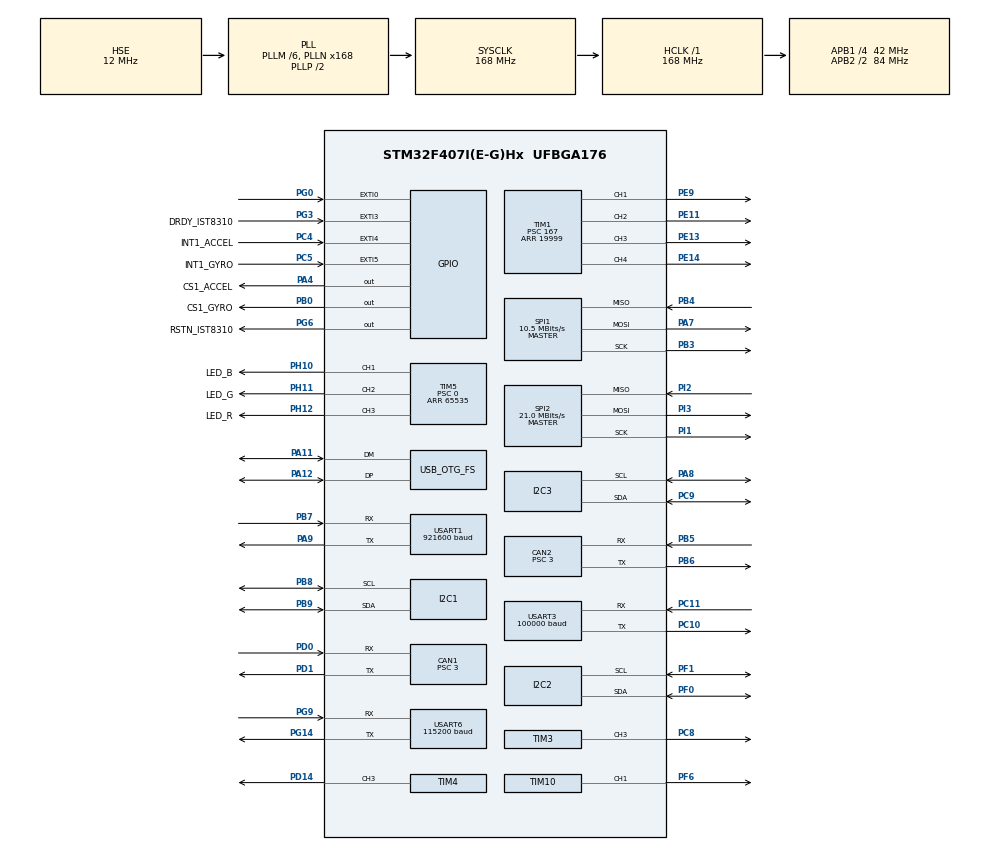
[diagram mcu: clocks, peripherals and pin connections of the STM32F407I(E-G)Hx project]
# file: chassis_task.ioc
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CAN1.BS1=CAN_BS1_10TQ
CAN1.BS2=CAN_BS2_3TQ
CAN1.CalculateBaudRate=1000000
CAN1.CalculateTimeQuantum=71.42857142857143
CAN1.Prescaler=3
CAN2.BS1=CAN_BS1_10TQ
CAN2.BS2=CAN_BS2_3TQ
CAN2.CalculateBaudRate=1000000
CAN2.CalculateTimeQuantum=71.42857142857143
CAN2.Prescaler=3
Dma.I2C2_TX.6.Direction=DMA_MEMORY_TO_PERIPH
Dma.I2C2_TX.6.FIFOMode=DMA_FIFOMODE_DISABLE
Dma.I2C2_TX.6.Instance=DMA1_Stream7
Dma.I2C2_TX.6.MemDataAlignment=DMA_MDATAALIGN_BYTE
Dma.I2C2_TX.6.MemInc=DMA_MINC_ENABLE
Dma.I2C2_TX.6.Mode=DMA_NORMAL
Dma.I2C2_TX.6.PeriphDataAlignment=DMA_PDATAALIGN_BYTE
Dma.I2C2_TX.6.PeriphInc=DMA_PINC_DISABLE
Dma.I2C2_TX.6.Priority=DMA_PRIORITY_HIGH
Dma.Request0=SPI1_RX
Dma.Request1=SPI1_TX
Dma.Request2=USART3_RX
Dma.Request3=USART1_RX
Dma.Request4=USART6_RX
Dma.Request5=USART6_TX
Dma.Request6=I2C2_TX
Dma.Request7=USART1_TX
Dma.SPI1_RX.0.Direction=DMA_PERIPH_TO_MEMORY
Dma.SPI1_RX.0.FIFOMode=DMA_FIFOMODE_DISABLE
Dma.SPI1_RX.0.Instance=DMA2_Stream2
Dma.SPI1_RX.0.MemDataAlignment=DMA_MDATAALIGN_BYTE
Dma.SPI1_RX.0.MemInc=DMA_MINC_ENABLE
Dma.SPI1_RX.0.Mode=DMA_NORMAL
Dma.SPI1_RX.0.PeriphDataAlignment=DMA_PDATAALIGN_BYTE
Dma.SPI1_RX.0.PeriphInc=DMA_PINC_DISABLE
Dma.SPI1_RX.0.Priority=DMA_PRIORITY_VERY_HIGH
Dma.SPI1_TX.1.Direction=DMA_MEMORY_TO_PERIPH
Dma.SPI1_TX.1.FIFOMode=DMA_FIFOMODE_DISABLE
Dma.SPI1_TX.1.Instance=DMA2_Stream3
Dma.SPI1_TX.1.MemDataAlignment=DMA_MDATAALIGN_BYTE
Dma.SPI1_TX.1.MemInc=DMA_MINC_ENABLE
Dma.SPI1_TX.1.Mode=DMA_NORMAL
Dma.SPI1_TX.1.PeriphDataAlignment=DMA_PDATAALIGN_BYTE
Dma.SPI1_TX.1.PeriphInc=DMA_PINC_DISABLE
Dma.SPI1_TX.1.Priority=DMA_PRIORITY_HIGH
Dma.USART1_RX.3.Direction=DMA_PERIPH_TO_MEMORY
Dma.USART1_RX.3.FIFOMode=DMA_FIFOMODE_DISABLE
Dma.USART1_RX.3.Instance=DMA2_Stream5
Dma.USART1_RX.3.MemDataAlignment=DMA_MDATAALIGN_BYTE
Dma.USART1_RX.3.MemInc=DMA_MINC_ENABLE
Dma.USART1_RX.3.Mode=DMA_NORMAL
Dma.USART1_RX.3.PeriphDataAlignment=DMA_PDATAALIGN_BYTE
Dma.USART1_RX.3.PeriphInc=DMA_PINC_DISABLE
Dma.USART1_RX.3.Priority=DMA_PRIORITY_LOW
Dma.USART1_TX.7.Direction=DMA_MEMORY_TO_PERIPH
Dma.USART1_TX.7.FIFOMode=DMA_FIFOMODE_DISABLE
Dma.USART1_TX.7.Instance=DMA2_Stream7
Dma.USART1_TX.7.MemDataAlignment=DMA_MDATAALIGN_BYTE
Dma.USART1_TX.7.MemInc=DMA_MINC_ENABLE
Dma.USART1_TX.7.Mode=DMA_NORMAL
Dma.USART1_TX.7.PeriphDataAlignment=DMA_PDATAALIGN_BYTE
Dma.USART1_TX.7.PeriphInc=DMA_PINC_DISABLE
Dma.USART1_TX.7.Priority=DMA_PRIORITY_LOW
Dma.USART3_RX.2.Direction=DMA_PERIPH_TO_MEMORY
Dma.USART3_RX.2.FIFOMode=DMA_FIFOMODE_DISABLE
Dma.USART3_RX.2.Instance=DMA1_Stream1
Dma.USART3_RX.2.MemDataAlignment=DMA_MDATAALIGN_BYTE
Dma.USART3_RX.2.MemInc=DMA_MINC_ENABLE
Dma.USART3_RX.2.Mode=DMA_NORMAL
Dma.USART3_RX.2.PeriphDataAlignment=DMA_PDATAALIGN_BYTE
Dma.USART3_RX.2.PeriphInc=DMA_PINC_DISABLE
Dma.USART3_RX.2.Priority=DMA_PRIORITY_HIGH
Dma.USART6_RX.4.Direction=DMA_PERIPH_TO_MEMORY
Dma.USART6_RX.4.FIFOMode=DMA_FIFOMODE_DISABLE
Dma.USART6_RX.4.Instance=DMA2_Stream1
Dma.USART6_RX.4.MemDataAlignment=DMA_MDATAALIGN_BYTE
Dma.USART6_RX.4.MemInc=DMA_MINC_ENABLE
Dma.USART6_RX.4.Mode=DMA_NORMAL
Dma.USART6_RX.4.PeriphDataAlignment=DMA_PDATAALIGN_BYTE
Dma.USART6_RX.4.PeriphInc=DMA_PINC_DISABLE
Dma.USART6_RX.4.Priority=DMA_PRIORITY_HIGH
Dma.USART6_TX.5.Direction=DMA_MEMORY_TO_PERIPH
Dma.USART6_TX.5.FIFOMode=DMA_FIFOMODE_DISABLE
Dma.USART6_TX.5.Instance=DMA2_Stream6
Dma.USART6_TX.5.MemDataAlignment=DMA_MDATAALIGN_BYTE
Dma.USART6_TX.5.MemInc=DMA_MINC_ENABLE
Dma.USART6_TX.5.Mode=DMA_NORMAL
Dma.USART6_TX.5.PeriphDataAlignment=DMA_PDATAALIGN_BYTE
Dma.USART6_TX.5.PeriphInc=DMA_PINC_DISABLE
Dma.USART6_TX.5.Priority=DMA_PRIORITY_MEDIUM
FREERTOS.INCLUDE_eTaskGetState=1
FREERTOS.INCLUDE_pcTaskGetTaskName=1
FREERTOS.INCLUDE_uxTaskGetStackHighWaterMark=1
FREERTOS.INCLUDE_vTaskCleanUpResources=1
FREERTOS.INCLUDE_vTaskDelayUntil=1
FREERTOS.INCLUDE_xEventGroupSetBitFromISR=1
FREERTOS.INCLUDE_xQueueGetMutexHolder=1
FREERTOS.INCLUDE_xSemaphoreGetMutexHolder=1
FREERTOS.INCLUDE_xTaskAbortDelay=1
FREERTOS.INCLUDE_xTaskGetCurrentTaskHandle=1
FREERTOS.INCLUDE_xTaskGetHandle=1
FREERTOS.INCLUDE_xTimerPendFunctionCall=1
FREERTOS.Tasks01=test,0,128,test_task,As weak,NULL,Dynamic,NULL,NULL;CHASSISR_TASK,1,512,ChassisR_Task,Default,NULL,Dynamic,NULL,NULL;INS_TASK,3,1024,INS_Task,Default,NULL,Dynamic,NULL,NULL;CHASSISL_TASK,1,512,ChassisL_Task,Default,NULL,Dynamic,NULL,NULL;OBSERVE_TASK,2,512,OBSERVE_Task,Default,NULL,Dynamic,NULL,NULL
FREERTOS.configTOTAL_HEAP_SIZE=24576
I2C1.I2C_Mode=I2C_Fast
I2C2.I2C_Mode=I2C_Fast
I2C3.I2C_Mode=I2C_Fast
Mcu.Family=STM32F4
Mcu.Name=STM32F407I(E-G)Hx
Mcu.Package=UFBGA176
NVIC.CAN1_RX0_IRQn=true\:6\:0\:true\:false\:true\:true\:true\:true\:true
NVIC.CAN2_RX0_IRQn=true\:6\:0\:true\:false\:true\:true\:true\:true\:true
NVIC.DMA1_Stream1_IRQn=true\:5\:0\:true\:false\:false\:true\:false\:false\:true
NVIC.DMA1_Stream7_IRQn=true\:5\:0\:false\:false\:false\:true\:false\:true\:true
NVIC.DMA2_Stream1_IRQn=true\:5\:0\:false\:false\:true\:true\:false\:true\:true
NVIC.DMA2_Stream2_IRQn=true\:5\:0\:true\:false\:false\:true\:false\:true\:true
NVIC.DMA2_Stream3_IRQn=true\:5\:0\:true\:false\:false\:true\:false\:true\:true
NVIC.DMA2_Stream5_IRQn=true\:5\:0\:false\:false\:true\:true\:false\:true\:true
NVIC.DMA2_Stream6_IRQn=true\:5\:0\:false\:false\:true\:true\:false\:true\:true
NVIC.DMA2_Stream7_IRQn=true\:5\:0\:false\:false\:true\:true\:false\:true\:true
NVIC.EXTI0_IRQn=true\:6\:0\:true\:false\:true\:true\:true\:true\:true
NVIC.EXTI3_IRQn=true\:5\:0\:true\:false\:true\:true\:true\:true\:true
NVIC.EXTI4_IRQn=true\:5\:0\:true\:false\:true\:true\:true\:true\:true
NVIC.EXTI9_5_IRQn=true\:5\:0\:true\:false\:true\:true\:true\:true\:true
NVIC.OTG_FS_IRQn=true\:5\:0\:false\:false\:true\:true\:true\:true\:true
NVIC.PriorityGroup=NVIC_PRIORITYGROUP_4
NVIC.USART1_IRQn=true\:5\:0\:false\:false\:true\:true\:true\:true\:true
NVIC.USART3_IRQn=true\:4\:0\:true\:false\:false\:false\:true\:true\:true
NVIC.USART6_IRQn=true\:5\:0\:false\:false\:false\:true\:true\:true\:true
PA11.Mode=Device_Only
PA11.Signal=USB_OTG_FS_DM
PA12.Mode=Device_Only
PA12.Signal=USB_OTG_FS_DP
PA13.Mode=Serial_Wire
PA13.Signal=SYS_JTMS-SWDIO
PA14.Mode=Serial_Wire
PA14.Signal=SYS_JTCK-SWCLK
PA4.GPIO_Label=CS1_ACCEL
PA4.GPIO_PuPd=GPIO_PULLUP
PA4.GPIO_Speed=GPIO_SPEED_FREQ_HIGH
PA4.PinState=GPIO_PIN_SET
PA4.Signal=GPIO_Output
PA7.GPIO_PuPd=GPIO_PULLUP
PA7.Mode=Full_Duplex_Master
PA7.Signal=SPI1_MOSI
PA8.GPIO_Pu=GPIO_PULLUP
PA8.Mode=I2C
PA8.Signal=I2C3_SCL
PA9.Mode=Asynchronous
PA9.Signal=USART1_TX
PB0.GPIO_Label=CS1_GYRO
PB0.GPIO_PuPd=GPIO_PULLUP
PB0.GPIO_Speed=GPIO_SPEED_FREQ_HIGH
PB0.PinState=GPIO_PIN_SET
PB0.Signal=GPIO_Output
PB3.GPIO_PuPd=GPIO_PULLUP
PB3.Mode=Full_Duplex_Master
PB3.Signal=SPI1_SCK
PB4.GPIO_PuPd=GPIO_PULLUP
PB4.Mode=Full_Duplex_Master
PB4.Signal=SPI1_MISO
PB5.Mode=CAN_Activate
PB5.Signal=CAN2_RX
PB6.Mode=CAN_Activate
PB6.Signal=CAN2_TX
PB7.Mode=Asynchronous
PB7.Signal=USART1_RX
PB8.GPIO_Pu=GPIO_PULLUP
PB8.Mode=I2C
PB8.Signal=I2C1_SCL
PB9.GPIO_Pu=GPIO_PULLUP
PB9.Mode=I2C
PB9.Signal=I2C1_SDA
PC10.Mode=Asynchronous
PC10.Signal=USART3_TX
PC11.Mode=Asynchronous
PC11.Signal=USART3_RX
PC4.GPIO_Label=INT1_ACCEL
PC4.GPIO_ModeDefaultEXTI=GPIO_MODE_IT_FALLING
PC4.GPIO_PuPd=GPIO_PULLUP
PC4.Signal=GPXTI4
PC5.GPIO_Label=INT1_GYRO
PC5.GPIO_ModeDefaultEXTI=GPIO_MODE_IT_FALLING
PC5.GPIO_PuPd=GPIO_PULLUP
PC5.Signal=GPXTI5
PC8.GPIO_PuPd=GPIO_PULLUP
PC8.GPIO_Speed=GPIO_SPEED_FREQ_HIGH
PC8.Signal=S_TIM3_CH3
PC9.GPIO_Pu=GPIO_PULLUP
PC9.Mode=I2C
PC9.Signal=I2C3_SDA
PD0.Mode=CAN_Activate
PD0.Signal=CAN1_RX
PD1.Mode=CAN_Activate
PD1.Signal=CAN1_TX
PD14.GPIO_PuPd=GPIO_PULLUP
PD14.GPIO_Speed=GPIO_SPEED_FREQ_HIGH
PD14.Signal=S_TIM4_CH3
PE11.GPIO_ModeDefaultPP=GPIO_MODE_AF_PP
PE11.GPIO_PuPd=GPIO_PULLUP
PE11.GPIO_Speed=GPIO_SPEED_FREQ_HIGH
PE11.Signal=S_TIM1_CH2
PE13.GPIO_PuPd=GPIO_PULLUP
PE13.GPIO_Speed=GPIO_SPEED_FREQ_HIGH
PE13.Signal=S_TIM1_CH3
PE14.GPIO_ModeDefaultPP=GPIO_MODE_AF_PP
PE14.GPIO_PuPd=GPIO_PULLUP
PE14.GPIO_Speed=GPIO_SPEED_FREQ_HIGH
PE14.Signal=S_TIM1_CH4
PE9.GPIO_ModeDefaultPP=GPIO_MODE_AF_PP
PE9.GPIO_PuPd=GPIO_PULLUP
PE9.GPIO_Speed=GPIO_SPEED_FREQ_HIGH
PE9.Signal=S_TIM1_CH1
PF0.GPIO_Mode=GPIO_MODE_AF_OD
PF0.GPIO_Pu=GPIO_PULLUP
PF0.GPIO_Speed=GPIO_SPEED_FREQ_VERY_HIGH
PF0.Mode=I2C
PF0.Signal=I2C2_SDA
PF1.GPIO_Mode=GPIO_MODE_AF_OD
PF1.GPIO_Pu=GPIO_PULLUP
PF1.GPIO_Speed=GPIO_SPEED_FREQ_VERY_HIGH
PF1.Mode=I2C
PF1.Signal=I2C2_SCL
PF6.GPIO_PuPd=GPIO_PULLUP
PF6.GPIO_Speed=GPIO_SPEED_FREQ_HIGH
PF6.Signal=S_TIM10_CH1
PG0.GPIO_ModeDefaultEXTI=GPIO_MODE_IT_FALLING
PG0.GPIO_PuPd=GPIO_PULLUP
PG0.Signal=GPXTI0
PG14.Mode=Asynchronous
PG14.Signal=USART6_TX
PG3.GPIO_Label=DRDY_IST8310
PG3.GPIO_ModeDefaultEXTI=GPIO_MODE_IT_FALLING
PG3.GPIO_PuPd=GPIO_PULLUP
PG3.Signal=GPXTI3
PG6.GPIO_Label=RSTN_IST8310
PG6.GPIO_PuPd=GPIO_PULLUP
PG6.GPIO_Speed=GPIO_SPEED_FREQ_MEDIUM
PG6.PinState=GPIO_PIN_SET
PG6.Signal=GPIO_Output
PG9.Mode=Asynchronous
PG9.Signal=USART6_RX
PH0-OSC_IN.Mode=HSE-External-Oscillator
PH0-OSC_IN.Signal=RCC_OSC_IN
PH1-OSC_OUT.Mode=HSE-External-Oscillator
PH1-OSC_OUT.Signal=RCC_OSC_OUT
PH10.GPIO_Label=LED_B
PH10.GPIO_PuPd=GPIO_PULLUP
PH10.GPIO_Speed=GPIO_SPEED_FREQ_HIGH
PH10.Signal=S_TIM5_CH1
PH11.GPIO_Label=LED_G
PH11.GPIO_PuPd=GPIO_PULLUP
PH11.GPIO_Speed=GPIO_SPEED_FREQ_HIGH
PH11.Signal=S_TIM5_CH2
PH12.GPIO_Label=LED_R
PH12.GPIO_PuPd=GPIO_PULLUP
PH12.GPIO_Speed=GPIO_SPEED_FREQ_HIGH
PH12.Signal=S_TIM5_CH3
PI1.Mode=Full_Duplex_Master
PI1.Signal=SPI2_SCK
PI2.Mode=Full_Duplex_Master
PI2.Signal=SPI2_MISO
PI3.Mode=Full_Duplex_Master
PI3.Signal=SPI2_MOSI
ProjectManager.HeapSize=0x2000
ProjectManager.StackSize=0x2000
ProjectManager.TargetToolchain=MDK-ARM V5
RCC.48MHZClocksFreq_Value=48000000
RCC.AHBFreq_Value=168000000
RCC.APB1CLKDivider=RCC_HCLK_DIV4
RCC.APB1Freq_Value=42000000
RCC.APB1TimFreq_Value=84000000
RCC.APB2CLKDivider=RCC_HCLK_DIV2
RCC.APB2Freq_Value=84000000
RCC.APB2TimFreq_Value=168000000
RCC.CortexFreq_Value=168000000
RCC.HCLKFreq_Value=168000000
RCC.HSE_VALUE=12000000
RCC.HSI_VALUE=16000000
RCC.LSE_VALUE=32768
RCC.PLLM=6
RCC.PLLN=168
RCC.PLLQ=7
RCC.RCC_RTC_Clock_SourceVirtual=RCC_RTCCLKSOURCE_HSE_DIV30
RCC.RCC_RTC_Clock_Source_FROM_HSE=RCC_RTCCLKSOURCE_HSE_DIV30
RCC.SYSCLKFreq_VALUE=168000000
RCC.SYSCLKSource=RCC_SYSCLKSOURCE_PLLCLK
RCC.VCOOutputFreq_Value=336000000
RTC.AsynchPrediv=124
RTC.SynchPrediv=3199
SH.S_TIM10_CH1.0=TIM10_CH1,PWM Generation1 CH1
SH.S_TIM1_CH1.0=TIM1_CH1,PWM Generation1 CH1
SH.S_TIM1_CH2.0=TIM1_CH2,PWM Generation2 CH2
SH.S_TIM1_CH3.0=TIM1_CH3,PWM Generation3 CH3
SH.S_TIM1_CH4.0=TIM1_CH4,PWM Generation4 CH4
SH.S_TIM3_CH3.0=TIM3_CH3,PWM Generation3 CH3
SH.S_TIM4_CH3.0=TIM4_CH3,PWM Generation3 CH3
SH.S_TIM5_CH1.0=TIM5_CH1,PWM Generation1 CH1
SH.S_TIM5_CH2.0=TIM5_CH2,PWM Generation2 CH2
SH.S_TIM5_CH3.0=TIM5_CH3,PWM Generation3 CH3
SPI1.BaudRatePrescaler=SPI_BAUDRATEPRESCALER_8
SPI1.CLKPhase=SPI_PHASE_2EDGE
SPI1.CLKPolarity=SPI_POLARITY_HIGH
SPI1.CalculateBaudRate=10.5 MBits/s
SPI1.Direction=SPI_DIRECTION_2LINES
SPI1.Mode=SPI_MODE_MASTER
SPI1.VirtualType=VM_MASTER
SPI2.CalculateBaudRate=21.0 MBits/s
SPI2.Direction=SPI_DIRECTION_2LINES
SPI2.Mode=SPI_MODE_MASTER
SPI2.VirtualType=VM_MASTER
TIM1.Channel-PWM\ Generation1\ CH1=TIM_CHANNEL_1
TIM1.Channel-PWM\ Generation2\ CH2=TIM_CHANNEL_2
TIM1.Channel-PWM\ Generation3\ CH3=TIM_CHANNEL_3
TIM1.Channel-PWM\ Generation4\ CH4=TIM_CHANNEL_4
TIM1.Period=19999
TIM1.Prescaler=167
TIM10.Channel=TIM_CHANNEL_1
TIM10.Period=2000-1
TIM10.Prescaler=84-1
TIM3.Channel-PWM\ Generation3\ CH3=TIM_CHANNEL_3
TIM3.Period=8399
TIM4.Channel-PWM\ Generation3\ CH3=TIM_CHANNEL_3
TIM4.Period=65535
TIM4.Prescaler=167
TIM5.Channel-PWM\ Generation1\ CH1=TIM_CHANNEL_1
TIM5.Channel-PWM\ Generation2\ CH2=TIM_CHANNEL_2
TIM5.Channel-PWM\ Generation3\ CH3=TIM_CHANNEL_3
TIM5.Period=65535
TIM5.Prescaler=0
TIM8.Period=19999
TIM8.Prescaler=167
USART1.BaudRate=921600
USART1.VirtualMode=VM_ASYNC
USART3.BaudRate=100000
USART3.Parity=PARITY_EVEN
USART3.VirtualMode=VM_ASYNC
USART6.BaudRate=115200
USART6.VirtualMode=VM_ASYNC
USB_OTG_FS.VirtualMode=Device_Only
VP_CRC_VS_CRC.Mode=CRC_Activate
VP_FREERTOS_VS_CMSIS_V1.Mode=CMSIS_V1
VP_RNG_VS_RNG.Mode=RNG_Activate
VP_RTC_VS_RTC_Activate.Mode=RTC_Enabled
VP_TIM10_VS_ClockSourceINT.Mode=Enable_Timer
VP_TIM1_VS_ClockSourceINT.Mode=Internal
VP_TIM3_VS_ClockSourceINT.Mode=Internal
VP_TIM4_VS_ClockSourceINT.Mode=Internal
VP_TIM5_VS_ClockSourceINT.Mode=Internal
VP_TIM8_VS_ClockSourceINT.Mode=Internal
board=custom

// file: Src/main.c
/* USER CODE BEGIN Header */
/**
  ******************************************************************************
  * @file           : main.c
  * @brief          : Main program body
  ******************************************************************************
  * @attention
  *
  * <h2><center>&copy; Copyright (c) 2019 STMicroelectronics.
  * All rights reserved.</center></h2>
  *
  * This software component is licensed by ST under Ultimate Liberty license
  * SLA0044, the "License"; You may not use this file except in compliance with
  * the License. You may obtain a copy of the License at:
  *                             www.st.com/SLA0044
  *
  ******************************************************************************
  */
/* USER CODE END Header */
#include "main.h"
#include "cmsis_os.h"
#include "can.h"
#include "crc.h"
#include "dma.h"
#include "i2c.h"
#include "rng.h"
#include "rtc.h"
#include "spi.h"
#include "tim.h"
#include "usart.h"
#include "usb_otg.h"
#include "gpio.h"

/* USER CODE BEGIN Includes */
#include "bsp_can.h"
#include "bsp_delay.h"
#include "remote_control.h"
#include "BMI088driver.h"
#include "bsp_dwt.h"
//#include "calibrate_task.h"
//#include "chassis_task.h"
#include "VMC_calc.h"
#include "detect_task.h"
#include "INS_task.h"
#include "led_flow_task.h"

/* USER CODE END Includes */

void SystemClock_Config(void);
void MX_FREERTOS_Init(void);

int main(void)
{

  /* MCU Configuration--------------------------------------------------------*/

  /* Reset of all peripherals, Initializes the Flash interface and the Systick. */
  HAL_Init();

  /* Configure the system clock */
  SystemClock_Config();

  /* Initialize all configured peripzzzzherals */
  MX_GPIO_Init();
  MX_DMA_Init();
  MX_CAN1_Init();
  MX_CAN2_Init();
  MX_SPI1_Init();
  MX_TIM4_Init();
  MX_TIM5_Init();
  MX_USART3_UART_Init();
  MX_TIM8_Init();
  MX_I2C3_Init();
  MX_RTC_Init();
  MX_TIM3_Init();
  MX_TIM10_Init();
  MX_SPI2_Init();
  MX_USART1_UART_Init();
  MX_I2C1_Init();
  MX_TIM1_Init();
  MX_USB_OTG_FS_PCD_Init();
  MX_CRC_Init();
  MX_RNG_Init();
  MX_USART6_UART_Init();
  MX_I2C2_Init();
  /* USER CODE BEGIN 2 */
    can_filter_init();

    delay_init();

    remote_control_init();

	DWT_Init(168);
  while (BMI088_init(&hspi1, 1) != BMI088_NO_ERROR);

  /* USER CODE END 2 */

  /* Call init function for freertos objects (in cmsis_os2.c) */
  MX_FREERTOS_Init();

  /* Start scheduler */
  osKernelStart();

  /* We should never get here as control is now taken by the scheduler */

  /* Infinite loop */
  while (1)
  {

  }
}

void SystemClock_Config(void)
{
  RCC_OscInitTypeDef RCC_OscInitStruct = {0};
  RCC_ClkInitTypeDef RCC_ClkInitStruct = {0};

  /** Configure the main internal regulator output voltage
  */
  __HAL_RCC_PWR_CLK_ENABLE();
  __HAL_PWR_VOLTAGESCALING_CONFIG(PWR_REGULATOR_VOLTAGE_SCALE1);

  /** Initializes the RCC Oscillators according to the specified parameters
  * in the RCC_OscInitTypeDef structure.
  */
  RCC_OscInitStruct.OscillatorType = RCC_OSCILLATORTYPE_HSE;
  RCC_OscInitStruct.HSEState = RCC_HSE_ON;
  RCC_OscInitStruct.PLL.PLLState = RCC_PLL_ON;
  RCC_OscInitStruct.PLL.PLLSource = RCC_PLLSOURCE_HSE;
  RCC_OscInitStruct.PLL.PLLM = 6;
  RCC_OscInitStruct.PLL.PLLN = 168;
  RCC_OscInitStruct.PLL.PLLP = RCC_PLLP_DIV2;
  RCC_OscInitStruct.PLL.PLLQ = 7;
  if (HAL_RCC_OscConfig(&RCC_OscInitStruct) != HAL_OK)
  {
    Error_Handler();
  }

  /** Initializes the CPU, AHB and APB buses clocks
  */
  RCC_ClkInitStruct.ClockType = RCC_CLOCKTYPE_HCLK|RCC_CLOCKTYPE_SYSCLK
                              |RCC_CLOCKTYPE_PCLK1|RCC_CLOCKTYPE_PCLK2;
  RCC_ClkInitStruct.SYSCLKSource = RCC_SYSCLKSOURCE_PLLCLK;
  RCC_ClkInitStruct.AHBCLKDivider = RCC_SYSCLK_DIV1;
  RCC_ClkInitStruct.APB1CLKDivider = RCC_HCLK_DIV4;
  RCC_ClkInitStruct.APB2CLKDivider = RCC_HCLK_DIV2;

  if (HAL_RCC_ClockConfig(&RCC_ClkInitStruct, FLASH_LATENCY_5) != HAL_OK)
  {
    Error_Handler();
  }
}

void Error_Handler(void)
{
}

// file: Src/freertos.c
/* USER CODE BEGIN Header */
/**
  ******************************************************************************
  * File Name          : freertos.c
  * Description        : Code for freertos applications
  ******************************************************************************
  * @attention
  *
  * <h2><center>&copy; Copyright (c) 2019 STMicroelectronics.
  * All rights reserved.</center></h2>
  *
  * This software component is licensed by ST under Ultimate Liberty license
  * SLA0044, the "License"; You may not use this file except in compliance with
  * the License. You may obtain a copy of the License at:
  *                             www.st.com/SLA0044
  *
  ******************************************************************************
  */
/* USER CODE END Header */

#include "FreeRTOS.h"
#include "task.h"
#include "main.h"
#include "cmsis_os.h"

/* USER CODE BEGIN Includes */

#include "calibrate_task.h"
//#include "chassis_task.h"
#include "chassisR_task.h"
#include "chassisL_task.h"
#include "observe_task.h"

#include "detect_task.h"
#include "INS_task.h"
#include "led_flow_task.h"
#include "test_task.h"

#include "referee_usart_task.h"

/* USER CODE END Includes */

/* USER CODE BEGIN PTD */

osThreadId calibrate_tast_handle;
osThreadId chassisTaskHandle;
osThreadId detect_handle;
//osThreadId imuTaskHandle;
osThreadId led_RGB_flow_handle;

/* USER CODE END PTD */

/* USER CODE BEGIN Variables */

osThreadId referee_usart_task_handle;

/* USER CODE END Variables */
osThreadId testHandle;
osThreadId CHASSISR_TASKHandle;
osThreadId INS_TASKHandle;
osThreadId CHASSISL_TASKHandle;
osThreadId OBSERVE_TASKHandle;

void test_task(void const * argument);
void ChassisR_Task(void const * argument);
void INS_Task(void const * argument);
void ChassisL_Task(void const * argument);
void OBSERVE_Task(void const * argument);

void MX_FREERTOS_Init(void); /* (MISRA C 2004 rule 8.1) */

/* GetIdleTaskMemory prototype (linked to static allocation support) */
void vApplicationGetIdleTaskMemory( StaticTask_t **ppxIdleTaskTCBBuffer, StackType_t **ppxIdleTaskStackBuffer, uint32_t *pulIdleTaskStackSize );

/* GetTimerTaskMemory prototype (linked to static allocation support) */
void vApplicationGetTimerTaskMemory( StaticTask_t **ppxTimerTaskTCBBuffer, StackType_t **ppxTimerTaskStackBuffer, uint32_t *pulTimerTaskStackSize );

/* USER CODE BEGIN GET_IDLE_TASK_MEMORY */
static StaticTask_t xIdleTaskTCBBuffer;
static StackType_t xIdleStack[configMINIMAL_STACK_SIZE];

void vApplicationGetIdleTaskMemory( StaticTask_t **ppxIdleTaskTCBBuffer, StackType_t **ppxIdleTaskStackBuffer, uint32_t *pulIdleTaskStackSize )
{
  *ppxIdleTaskTCBBuffer = &xIdleTaskTCBBuffer;
  *ppxIdleTaskStackBuffer = &xIdleStack[0];
  *pulIdleTaskStackSize = configMINIMAL_STACK_SIZE;
  /* place for user code */
}
/* USER CODE END GET_IDLE_TASK_MEMORY */

/* USER CODE BEGIN GET_TIMER_TASK_MEMORY */
static StaticTask_t xTimerTaskTCBBuffer;
static StackType_t xTimerStack[configTIMER_TASK_STACK_DEPTH];

void vApplicationGetTimerTaskMemory( StaticTask_t **ppxTimerTaskTCBBuffer, StackType_t **ppxTimerTaskStackBuffer, uint32_t *pulTimerTaskStackSize )
{
  *ppxTimerTaskTCBBuffer = &xTimerTaskTCBBuffer;
  *ppxTimerTaskStackBuffer = &xTimerStack[0];
  *pulTimerTaskStackSize = configTIMER_TASK_STACK_DEPTH;
  /* place for user code */
}
/* USER CODE END GET_TIMER_TASK_MEMORY */

void MX_FREERTOS_Init(void) {

  /* Create the thread(s) */
  /* definition and creation of test */
  osThreadDef(test, test_task, osPriorityNormal, 0, 128);
  testHandle = osThreadCreate(osThread(test), NULL);

  /* definition and creation of CHASSISR_TASK */
  osThreadDef(CHASSISR_TASK, ChassisR_Task, osPriorityAboveNormal, 0, 512);
  CHASSISR_TASKHandle = osThreadCreate(osThread(CHASSISR_TASK), NULL);

  /* definition and creation of INS_TASK */
  osThreadDef(INS_TASK, INS_Task, osPriorityRealtime, 0, 1024);
  INS_TASKHandle = osThreadCreate(osThread(INS_TASK), NULL);

  /* definition and creation of CHASSISL_TASK */
  osThreadDef(CHASSISL_TASK, ChassisL_Task, osPriorityAboveNormal, 0, 512);
  CHASSISL_TASKHandle = osThreadCreate(osThread(CHASSISL_TASK), NULL);

  /* definition and creation of OBSERVE_TASK */
  osThreadDef(OBSERVE_TASK, OBSERVE_Task, osPriorityHigh, 0, 512);
  OBSERVE_TASKHandle = osThreadCreate(osThread(OBSERVE_TASK), NULL);

  /* USER CODE BEGIN RTOS_THREADS */
  /* add threads, ... */

    osThreadDef(REFEREE, referee_usart_task, osPriorityNormal, 0, 128);//RM裁判系统串口通信
    referee_usart_task_handle = osThreadCreate(osThread(REFEREE), NULL);

//    osThreadDef(cali, calibrate_task, osPriorityNormal, 0, 512);
//    calibrate_tast_handle = osThreadCreate(osThread(cali), NULL);

//    osThreadDef(ChassisTask, chassis_task, osPriorityAboveNormal, 0, 512);
//    chassisTaskHandle = osThreadCreate(osThread(ChassisTask), NULL);

    osThreadDef(DETECT, detect_task, osPriorityNormal, 0, 256);
    detect_handle = osThreadCreate(osThread(DETECT), NULL);

//    osThreadDef(imuTask, INS_Task, osPriorityRealtime, 0, 1024);
//    imuTaskHandle = osThreadCreate(osThread(imuTask), NULL);

//    osThreadDef(led, led_RGB_flow_task, osPriorityNormal, 0, 256);
//    led_RGB_flow_handle = osThreadCreate(osThread(led), NULL);

  /* USER CODE END RTOS_THREADS */

}

__weak void test_task(void const * argument)
{
  for(;;)
  {
    osDelay(1);
  }
}

void ChassisR_Task(void const * argument)
{
  /* USER CODE BEGIN ChassisR_Task */
  /* Infinite loop */
  for(;;)
  {
	ChassisR_task();
  }
  /* USER CODE END ChassisR_Task */
}

void INS_Task(void const * argument)
{
  /* USER CODE BEGIN INS_Task */

	INS_Init();

  /* Infinite loop */
  for(;;)
  {
    INS_task();
  }
  /* USER CODE END INS_Task */
}

void ChassisL_Task(void const * argument)
{
  /* USER CODE BEGIN ChassisL_Task */
  /* Infinite loop */
  for(;;)
  {
	ChassisL_task();
  }
  /* USER CODE END ChassisL_Task */
}

void OBSERVE_Task(void const * argument)
{
  /* USER CODE BEGIN OBSERVE_Task */
  /* Infinite loop */
  for(;;)
  {
    observe_task();
  }
  /* USER CODE END OBSERVE_Task */
}
